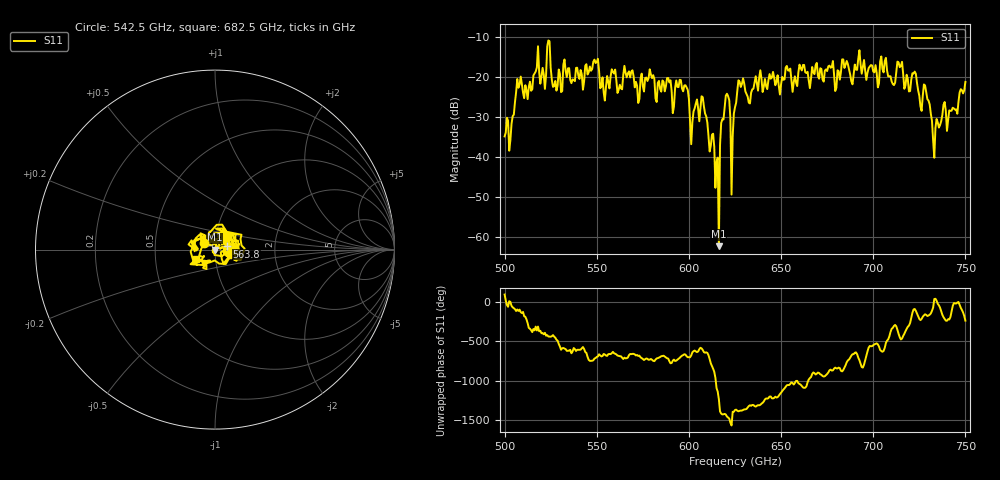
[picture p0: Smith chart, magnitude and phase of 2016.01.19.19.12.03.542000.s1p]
!Created with skrf (http://scikit-rf.org).
# GHz S RI R 50.0
!freq ReS11 ImS11
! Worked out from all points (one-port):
!   401 points, 500 GHz to 750 GHz, reference 50 ohm
!   lowest |S11| = -62.3 dB at 616.2 GHz (marker M1), VSWR 1.00, Z = 49.9 - j0.0296 ohm
!   |S11| at or under -10 dB: start of sweep to end of sweep
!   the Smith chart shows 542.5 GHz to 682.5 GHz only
!   S11 on the Smith chart (normalised r, x): 542.5 GHz: 0.89, +0.06; 563.8 GHz: 1.15, +0.04; 682.5 GHz: 0.81, -0.08
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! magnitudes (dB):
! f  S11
! 500 GHz  -34.8
! 503.8 GHz  -31.8
! 507.5 GHz  -22.7
! 523.8 GHz  -10.9
! 526.9 GHz  -22.3
! 531.2 GHz  -23.5
! 542.5 GHz  -23.2
! 549.4 GHz  -16.5
! 553.1 GHz  -20.1
! 562.5 GHz  -21.9
! 563.8 GHz  -23.1
! 593.8 GHz  -22.5
! 601.9 GHz  -31.3
! 608.1 GHz  -27.3
! 615 GHz  -41.3
! 616.2 GHz  -62.3
! 620 GHz  -24.7
! 623.8 GHz  -34.8
! 625 GHz  -27.5
! 628.1 GHz  -22.5
! 656.2 GHz  -23.7
! 682.5 GHz  -18.7
! 687.5 GHz  -19.4
! 714.4 GHz  -17.5
! 718.8 GHz  -20.5
! 728.8 GHz  -23.9
! 733.8 GHz  -32.7
! 750 GHz  -21.2
